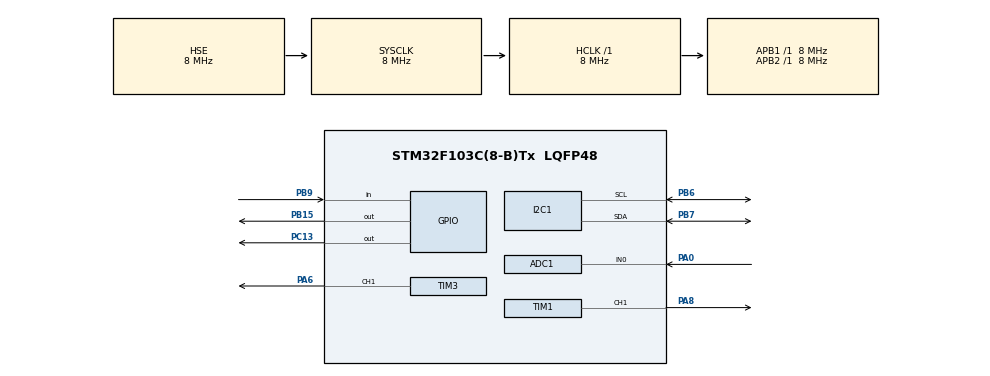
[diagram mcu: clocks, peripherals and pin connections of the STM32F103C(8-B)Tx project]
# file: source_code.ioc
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ADC1.Channel-0\#ChannelRegularConversion=ADC_CHANNEL_0
ADC1.NbrOfConversionFlag=1
ADC1.Rank-0\#ChannelRegularConversion=1
ADC1.SamplingTime-0\#ChannelRegularConversion=ADC_SAMPLETIME_7CYCLES_5
ADC1.master=1
FREERTOS.Queues01=CtrlQueue,16,dat_t,0,Dynamic,NULL,NULL;DispQueue,16,dat_t,0,Dynamic,NULL,NULL
FREERTOS.Tasks01=SensorTask,26,256,StartSensorTask,Default,NULL,Dynamic,NULL,NULL;ControlTask,27,256,StartControlTask,Default,NULL,Dynamic,NULL,NULL;BreathTask,26,128,StartBreathTask,Default,NULL,Dynamic,NULL,NULL;DisplayTask,25,512,StartDisplayTask,Default,NULL,Dynamic,NULL,NULL;IndicatorTask,25,128,StartIndicatorTask,Default,NULL,Dynamic,NULL,NULL
FREERTOS.configENABLE_FPU=1
FREERTOS.configGENERATE_RUN_TIME_STATS=1
FREERTOS.configRECORD_STACK_HIGH_ADDRESS=1
FREERTOS.configTOTAL_HEAP_SIZE=8192
I2C1.I2C_Mode=I2C_Fast
Mcu.Family=STM32F1
Mcu.Name=STM32F103C(8-B)Tx
Mcu.Package=LQFP48
NVIC.PriorityGroup=NVIC_PRIORITYGROUP_4
NVIC.TIM4_IRQn=true\:15\:0\:false\:false\:true\:false\:false\:true\:true
NVIC.TimeBase=TIM4_IRQn
NVIC.TimeBaseIP=TIM4
PA0-WKUP.Signal=ADCx_IN0
PA13.Mode=Serial_Wire
PA13.Signal=SYS_JTMS-SWDIO
PA14.Mode=Serial_Wire
PA14.Signal=SYS_JTCK-SWCLK
PA6.Signal=S_TIM3_CH1
PA8.Signal=S_TIM1_CH1
PB15.Signal=GPIO_Output
PB6.Mode=I2C
PB6.Signal=I2C1_SCL
PB7.Mode=I2C
PB7.Signal=I2C1_SDA
PB9.Signal=GPIO_Input
PC13-TAMPER-RTC.GPIO_ModeDefaultOutputPP=GPIO_MODE_OUTPUT_OD
PC13-TAMPER-RTC.GPIO_PuPd=GPIO_NOPULL
PC13-TAMPER-RTC.PinState=GPIO_PIN_SET
PC13-TAMPER-RTC.Signal=GPIO_Output
PD0-OSC_IN.Mode=HSE-External-Oscillator
PD0-OSC_IN.Signal=RCC_OSC_IN
PD1-OSC_OUT.Mode=HSE-External-Oscillator
PD1-OSC_OUT.Signal=RCC_OSC_OUT
ProjectManager.HeapSize=0x200
ProjectManager.StackSize=0x400
ProjectManager.TargetToolchain=MDK-ARM V5.32
RCC.AHBFreq_Value=8000000
RCC.APB1Freq_Value=8000000
RCC.APB1TimFreq_Value=8000000
RCC.APB2Freq_Value=8000000
RCC.APB2TimFreq_Value=8000000
RCC.HCLKFreq_Value=8000000
RCC.PLLSourceVirtual=RCC_PLLSOURCE_HSE
RCC.SYSCLKFreq_VALUE=8000000
RCC.SYSCLKSource=RCC_SYSCLKSOURCE_HSE
RCC.USBFreq_Value=16000000
SH.ADCx_IN0.0=ADC1_IN0,IN0
SH.S_TIM1_CH1.0=TIM1_CH1,PWM Generation1 CH1
SH.S_TIM3_CH1.0=TIM3_CH1,PWM Generation1 CH1
TIM1.AutoReloadPreload=TIM_AUTORELOAD_PRELOAD_ENABLE
TIM1.Channel-PWM\ Generation1\ CH1=TIM_CHANNEL_1
TIM1.Period=999
TIM1.Prescaler=7
TIM3.AutoReloadPreload=TIM_AUTORELOAD_PRELOAD_ENABLE
TIM3.Channel-PWM\ Generation1\ CH1=TIM_CHANNEL_1
TIM3.OCFastMode_PWM-PWM\ Generation1\ CH1=TIM_OCFAST_ENABLE
TIM3.OCPolarity_1=TIM_OCPOLARITY_LOW
TIM3.Period=999
TIM3.Prescaler=7
TIM3.Pulse-PWM\ Generation1\ CH1=5
VP_FREERTOS_VS_CMSIS_V2.Mode=CMSIS_V2
VP_SYS_VS_tim4.Mode=TIM4
VP_TIM1_VS_ClockSourceINT.Mode=Internal
VP_TIM3_VS_ClockSourceINT.Mode=Internal
board=custom

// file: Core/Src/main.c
/* USER CODE BEGIN Header */
/**
  ******************************************************************************
  * @file           : main.c
  * @brief          : Main program body
  ******************************************************************************
  * @attention
  *
  * Copyright (c) 2026 STMicroelectronics.
  * All rights reserved.
  *
  * This software is licensed under terms that can be found in the LICENSE file
  * in the root directory of this software component.
  * If no LICENSE file comes with this software, it is provided AS-IS.
  *
  ******************************************************************************
  */
/* USER CODE END Header */
#include "main.h"
#include "cmsis_os.h"
#include "adc.h"
#include "i2c.h"
#include "tim.h"
#include "gpio.h"

void SystemClock_Config(void);
void MX_FREERTOS_Init(void);

int main(void)
{

  /* MCU Configuration--------------------------------------------------------*/

  /* Reset of all peripherals, Initializes the Flash interface and the Systick. */
  HAL_Init();

  /* Configure the system clock */
  SystemClock_Config();

  /* Initialize all configured peripherals */
  MX_GPIO_Init();
  MX_ADC1_Init();
  MX_I2C1_Init();
  MX_TIM1_Init();
  MX_TIM3_Init();

  /* Init scheduler */
  osKernelInitialize();  /* Call init function for freertos objects (in cmsis_os2.c) */
  MX_FREERTOS_Init();

  /* Start scheduler */
  osKernelStart();

  /* We should never get here as control is now taken by the scheduler */

  /* Infinite loop */
  while (1)
  {

  }
}

void SystemClock_Config(void)
{
  RCC_OscInitTypeDef RCC_OscInitStruct = {0};
  RCC_ClkInitTypeDef RCC_ClkInitStruct = {0};
  RCC_PeriphCLKInitTypeDef PeriphClkInit = {0};

  /** Initializes the RCC Oscillators according to the specified parameters
  * in the RCC_OscInitTypeDef structure.
  */
  RCC_OscInitStruct.OscillatorType = RCC_OSCILLATORTYPE_HSE;
  RCC_OscInitStruct.HSEState = RCC_HSE_ON;
  RCC_OscInitStruct.PLL.PLLState = RCC_PLL_NONE;
  if (HAL_RCC_OscConfig(&RCC_OscInitStruct) != HAL_OK)
  {
    Error_Handler();
  }

  /** Initializes the CPU, AHB and APB buses clocks
  */
  RCC_ClkInitStruct.ClockType = RCC_CLOCKTYPE_HCLK|RCC_CLOCKTYPE_SYSCLK
                              |RCC_CLOCKTYPE_PCLK1|RCC_CLOCKTYPE_PCLK2;
  RCC_ClkInitStruct.SYSCLKSource = RCC_SYSCLKSOURCE_HSE;
  RCC_ClkInitStruct.AHBCLKDivider = RCC_SYSCLK_DIV1;
  RCC_ClkInitStruct.APB1CLKDivider = RCC_HCLK_DIV1;
  RCC_ClkInitStruct.APB2CLKDivider = RCC_HCLK_DIV1;

  if (HAL_RCC_ClockConfig(&RCC_ClkInitStruct, FLASH_LATENCY_0) != HAL_OK)
  {
    Error_Handler();
  }
  PeriphClkInit.PeriphClockSelection = RCC_PERIPHCLK_ADC;
  PeriphClkInit.AdcClockSelection = RCC_ADCPCLK2_DIV2;
  if (HAL_RCCEx_PeriphCLKConfig(&PeriphClkInit) != HAL_OK)
  {
    Error_Handler();
  }
}

void HAL_TIM_PeriodElapsedCallback(TIM_HandleTypeDef *htim)
{
  if (htim->Instance == TIM4)
  {
    HAL_IncTick();
  }
}

void Error_Handler(void)
{
  __disable_irq();
  while (1)
  {
  }
}

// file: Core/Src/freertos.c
/* USER CODE BEGIN Header */
/**
  ******************************************************************************
  * File Name          : freertos.c
  * Description        : Code for freertos applications
  ******************************************************************************
  * @attention
  *
  * Copyright (c) 2026 STMicroelectronics.
  * All rights reserved.
  *
  * This software is licensed under terms that can be found in the LICENSE file
  * in the root directory of this software component.
  * If no LICENSE file comes with this software, it is provided AS-IS.
  *
  ******************************************************************************
  */
/* USER CODE END Header */

#include "FreeRTOS.h"
#include "task.h"
#include "main.h"
#include "cmsis_os.h"

/* USER CODE BEGIN Includes */
#include "tim.h"
#include "adc.h"
#include "gpio.h"
#include "i2c.h"
#include "portable.h"
#include "oled.h"
#include <stdlib.h>
#include <string.h>
#include <math.h>
/* USER CODE END Includes */

/* USER CODE BEGIN PTD */
typedef struct {
    uint32_t temp;
    float volt;
    uint8_t alarm_test; /* 1 = simulated alarm, not measured over-temperature */
} dat_t;
/* USER CODE END PTD */

/* USER CODE BEGIN PD */
#define ALARM_STARTUP_TEST_ENABLE  1U /* Set to 0 for normal operation. */
#define ALARM_STARTUP_TEST_MS      5000U
#define DISPLAY_INTERVAL_MS       100U

/* USER CODE END PD */

/* USER CODE BEGIN Variables */
volatile uint8_t breath_enable = 0;
volatile uint32_t ctrl_queue_send_fail = 0;
volatile uint32_t disp_queue_send_fail = 0;
volatile uint32_t adc_sample_fail = 0;
/* USER CODE END Variables */
/* Definitions for SensorTask */
osThreadId_t SensorTaskHandle;
const osThreadAttr_t SensorTask_attributes = {
  .name = "SensorTask",
  .stack_size = 256 * 4,
  .priority = (osPriority_t) osPriorityNormal2,
};
/* Definitions for ControlTask */
osThreadId_t ControlTaskHandle;
const osThreadAttr_t ControlTask_attributes = {
  .name = "ControlTask",
  .stack_size = 256 * 4,
  .priority = (osPriority_t) osPriorityNormal3,
};
/* Definitions for BreathTask */
osThreadId_t BreathTaskHandle;
const osThreadAttr_t BreathTask_attributes = {
  .name = "BreathTask",
  .stack_size = 128 * 4,
  .priority = (osPriority_t) osPriorityNormal2,
};
/* Definitions for DisplayTask */
osThreadId_t DisplayTaskHandle;
const osThreadAttr_t DisplayTask_attributes = {
  .name = "DisplayTask",
  .stack_size = 512 * 4,
  .priority = (osPriority_t) osPriorityNormal1,
};
/* Definitions for IndicatorTask */
osThreadId_t IndicatorTaskHandle;
const osThreadAttr_t IndicatorTask_attributes = {
  .name = "IndicatorTask",
  .stack_size = 128 * 4,
  .priority = (osPriority_t) osPriorityNormal1,
};
/* Definitions for CtrlQueue */
osMessageQueueId_t CtrlQueueHandle;
const osMessageQueueAttr_t CtrlQueue_attributes = {
  .name = "CtrlQueue"
};
/* Definitions for DispQueue */
osMessageQueueId_t DispQueueHandle;
const osMessageQueueAttr_t DispQueue_attributes = {
  .name = "DispQueue"
};

/* USER CODE BEGIN FunctionPrototypes */
void Buzzer_On(void);
void Buzzer_Off(void);
/* USER CODE END FunctionPrototypes */

void StartSensorTask(void *argument);
void StartControlTask(void *argument);
void StartBreathTask(void *argument);
void StartDisplayTask(void *argument);
void StartIndicatorTask(void *argument);

void MX_FREERTOS_Init(void); /* (MISRA C 2004 rule 8.1) */

/* Hook prototypes */
void configureTimerForRunTimeStats(void);
unsigned long getRunTimeCounterValue(void);

/* USER CODE BEGIN 1 */
/* Functions needed when configGENERATE_RUN_TIME_STATS is on */
__weak void configureTimerForRunTimeStats(void)
{

}

__weak unsigned long getRunTimeCounterValue(void)
{
return 0;
}
/* USER CODE END 1 */

void MX_FREERTOS_Init(void) {

  /* Create the queue(s) */
  /* creation of CtrlQueue */
  CtrlQueueHandle = osMessageQueueNew (16, sizeof(dat_t), &CtrlQueue_attributes);

  /* creation of DispQueue */
  DispQueueHandle = osMessageQueueNew (16, sizeof(dat_t), &DispQueue_attributes);

  /* USER CODE BEGIN RTOS_QUEUES */
  if ((CtrlQueueHandle == NULL) || (DispQueueHandle == NULL)) {
    Error_Handler();
  }
  /* add queues, ... */
  /* USER CODE END RTOS_QUEUES */

  /* Create the thread(s) */
  /* creation of SensorTask */
  SensorTaskHandle = osThreadNew(StartSensorTask, NULL, &SensorTask_attributes);

  /* creation of ControlTask */
  ControlTaskHandle = osThreadNew(StartControlTask, NULL, &ControlTask_attributes);

  /* creation of BreathTask */
  BreathTaskHandle = osThreadNew(StartBreathTask, NULL, &BreathTask_attributes);

  /* creation of DisplayTask */
  DisplayTaskHandle = osThreadNew(StartDisplayTask, NULL, &DisplayTask_attributes);

  /* creation of IndicatorTask */
  IndicatorTaskHandle = osThreadNew(StartIndicatorTask, NULL, &IndicatorTask_attributes);

  /* USER CODE BEGIN RTOS_THREADS */
  if ((SensorTaskHandle == NULL) || (ControlTaskHandle == NULL) ||
      (BreathTaskHandle == NULL) || (DisplayTaskHandle == NULL) ||
      (IndicatorTaskHandle == NULL)) {
    Error_Handler();
  }
  /* add threads, ... */
  /* USER CODE END RTOS_THREADS */

}

void StartSensorTask(void *argument)
{
  /* USER CODE BEGIN StartSensorTask */
  const uint32_t test_start = osKernelGetTickCount();
  const uint32_t tick_hz = osKernelGetTickFreq();
  const uint32_t test_ticks = (tick_hz * ALARM_STARTUP_TEST_MS) / 1000U;
  const uint32_t display_ticks = (tick_hz * DISPLAY_INTERVAL_MS) / 1000U;
  uint32_t last_display = test_start - display_ticks;
  dat_t dat = {0}; /* Retain the last valid light sample on ADC errors. */
  /* Infinite loop */
  for(;;)
  {
    //声明必要结构体

    //判断温度
    dat.temp = (HAL_GPIO_ReadPin(GPIOB, GPIO_PIN_9) == GPIO_PIN_SET) ? 1 : 0;
    dat.alarm_test = (ALARM_STARTUP_TEST_ENABLE &&
                     ((uint32_t)(osKernelGetTickCount() - test_start) < test_ticks)) ? 1U : 0U;

    //判断亮度，ADC转换并计算电压
    if ((HAL_ADC_Start(&hadc1) == HAL_OK) &&
        (HAL_ADC_PollForConversion(&hadc1, 5U) == HAL_OK)) {
        uint32_t dr = HAL_ADC_GetValue(&hadc1);
        dat.volt = dr * 3.3f / 4095.0f;
    } else {
        adc_sample_fail++;
    }
    HAL_ADC_Stop(&hadc1);

    //将数据发送到控制和显示队列
    if (osMessageQueuePut(CtrlQueueHandle, &dat, 0, 0) != osOK) {
        ctrl_queue_send_fail++;
    }
    if ((uint32_t)(osKernelGetTickCount() - last_display) >= display_ticks) {
        last_display = osKernelGetTickCount();
        if (osMessageQueuePut(DispQueueHandle, &dat, 0, 0) != osOK) {
            disp_queue_send_fail++;
        }
    }

    //延时
    osDelay(10);
  }
  /* USER CODE END StartSensorTask */
}

void StartControlTask(void *argument)
{
  /* USER CODE BEGIN StartControlTask */

  //接收变量
  dat_t rx_dat;
  Buzzer_Off(); /* Establish a driven inactive level before processing alarms. */

  for(;;)
  {
    //从控制队列接收数据（阻塞等待）
    if (osMessageQueueGet(CtrlQueueHandle, &rx_dat, NULL, osWaitForever) == osOK)
    {
        /* ---------- 温度 ---------- */
        if ((rx_dat.temp == 1) || rx_dat.alarm_test) {
            Buzzer_On();
            breath_enable = 1;
        }
        else {                 // Normal temperature
            Buzzer_Off();
            breath_enable = 0;
        }

        /* ---------- 亮度 ---------- */
        if (rx_dat.volt < 2.0f) {
            HAL_GPIO_WritePin(GPIOB, GPIO_PIN_15, GPIO_PIN_RESET); // OFF
        }
        else {
            HAL_GPIO_WritePin(GPIOB, GPIO_PIN_15, GPIO_PIN_SET);   // ON
        }
    }
  }
  /* USER CODE END StartControlTask */
}

void StartBreathTask(void *argument)
{
  /* USER CODE BEGIN StartBreathTask */
  /* Current project uses an 8 MHz TIM1 clock: 1 kHz PWM, 1000 duty steps. */
  __HAL_TIM_SET_PRESCALER(&htim1, 7U);
  __HAL_TIM_SET_AUTORELOAD(&htim1, 999U);
  __HAL_TIM_SET_COMPARE(&htim1, TIM_CHANNEL_1, 0U);
  HAL_TIM_GenerateEvent(&htim1, TIM_EVENTSOURCE_UPDATE);
  __HAL_TIM_CLEAR_FLAG(&htim1, TIM_FLAG_UPDATE);
  HAL_TIM_PWM_Start(&htim1, TIM_CHANNEL_1);
  const float PI = 3.1415926f;

  for(;;)
  {
    if (breath_enable) {
        float t = xTaskGetTickCount() * portTICK_PERIOD_MS * 0.001f;
        float duty = 0.5f * sinf(2.0f * PI * t) + 0.5f; // [0.0, 1.0]
        uint32_t ccr = (uint32_t)(duty * (__HAL_TIM_GET_AUTORELOAD(&htim1) + 1));
        __HAL_TIM_SET_COMPARE(&htim1, TIM_CHANNEL_1, ccr);
    }
    else {
        __HAL_TIM_SET_COMPARE(&htim1, TIM_CHANNEL_1, 0);
    }

    //延时
    osDelay(10);
  }
  /* USER CODE END StartBreathTask */
}

void StartDisplayTask(void *argument)
{
  /* USER CODE BEGIN StartDisplayTask */

  //接收变量
  dat_t rx_dat;

  //OLED初始化
  OLED_Init(&hi2c1, 0x3CU);

  for(;;)
  {
    if (osMessageQueueGet(DispQueueHandle, &rx_dat, NULL, osWaitForever) == osOK)
    {
      dat_t latest;
      /* Only display the newest queued sample, not an old backlog. */
      while (osMessageQueueGet(DispQueueHandle, &latest, NULL, 0) == osOK) {
        rx_dat = latest;
      }
      OLED_ShowSurveyScreen(rx_dat.alarm_test, (uint8_t)rx_dat.temp,
                            rx_dat.volt);
    }
  }
  /* USER CODE END StartDisplayTask */
}

void StartIndicatorTask(void *argument)
{
  /* USER CODE BEGIN StartIndicatorTask */
  for(;;)
  {
    HAL_GPIO_WritePin(GPIOC, GPIO_PIN_13, GPIO_PIN_RESET);
    osDelay(500);
    HAL_GPIO_WritePin(GPIOC, GPIO_PIN_13, GPIO_PIN_SET);
    osDelay(500);
  }
  /* USER CODE END StartIndicatorTask */
}

/* USER CODE BEGIN Application */

static uint8_t buzzer_pwm_started = 0;

void Buzzer_On(void)
{
    if (!buzzer_pwm_started) {
        if (HAL_TIM_PWM_Start(&htim3, TIM_CHANNEL_1) == HAL_OK) {
            buzzer_pwm_started = 1;
        }
    }
    /* Keep the existing tone frequency; use 50% duty instead of 5/1000. */
    __HAL_TIM_SET_COMPARE(&htim3, TIM_CHANNEL_1,
                          (__HAL_TIM_GET_AUTORELOAD(&htim3) + 1U) / 2U);
}

void Buzzer_Off(void)
{
    /* PWM1 + existing LOW polarity: CCR=0 drives HIGH (PNP module off).
       Do not leave the module input floating by disabling the channel. */
    __HAL_TIM_SET_COMPARE(&htim3, TIM_CHANNEL_1, 0U);
    if (!buzzer_pwm_started) {
        if (HAL_TIM_PWM_Start(&htim3, TIM_CHANNEL_1) == HAL_OK) {
            buzzer_pwm_started = 1;
        }
    }
}

/* USER CODE END Application */
